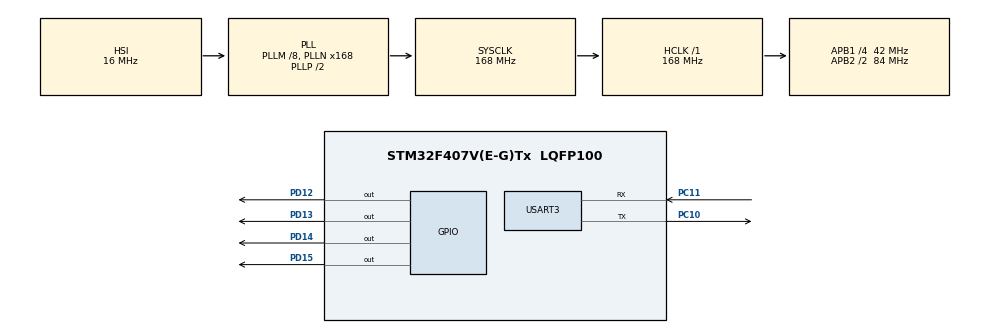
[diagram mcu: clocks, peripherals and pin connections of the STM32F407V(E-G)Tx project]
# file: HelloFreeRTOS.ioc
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Mcu.Family=STM32F4
Mcu.Name=STM32F407V(E-G)Tx
Mcu.Package=LQFP100
NVIC.PriorityGroup=NVIC_PRIORITYGROUP_4
PC10.Mode=Asynchronous
PC10.Signal=USART3_TX
PC11.Mode=Asynchronous
PC11.Signal=USART3_RX
PC14-OSC32_IN.Mode=LSE-External-Oscillator
PC14-OSC32_IN.Signal=RCC_OSC32_IN
PC15-OSC32_OUT.Mode=LSE-External-Oscillator
PC15-OSC32_OUT.Signal=RCC_OSC32_OUT
PD12.Signal=GPIO_Output
PD13.Signal=GPIO_Output
PD14.Signal=GPIO_Output
PD15.Signal=GPIO_Output
PH0-OSC_IN.Mode=HSE-External-Oscillator
PH0-OSC_IN.Signal=RCC_OSC_IN
PH1-OSC_OUT.Mode=HSE-External-Oscillator
PH1-OSC_OUT.Signal=RCC_OSC_OUT
ProjectManager.HeapSize=0x200
ProjectManager.StackSize=0x400
ProjectManager.TargetToolchain=SW4STM32
RCC.48MHZClocksFreq_Value=84000000
RCC.AHBFreq_Value=168000000
RCC.APB1CLKDivider=RCC_HCLK_DIV4
RCC.APB1Freq_Value=42000000
RCC.APB1TimFreq_Value=84000000
RCC.APB2CLKDivider=RCC_HCLK_DIV2
RCC.APB2Freq_Value=84000000
RCC.APB2TimFreq_Value=168000000
RCC.CortexFreq_Value=168000000
RCC.HCLKFreq_Value=168000000
RCC.HSE_VALUE=8000000
RCC.HSI_VALUE=16000000
RCC.PLLM=8
RCC.PLLN=168
RCC.SYSCLKFreq_VALUE=168000000
RCC.SYSCLKSource=RCC_SYSCLKSOURCE_PLLCLK
RCC.VCOOutputFreq_Value=336000000
USART3.VirtualMode=VM_ASYNC
VP_TIM4_VS_ClockSourceINT.Mode=Internal
board=custom

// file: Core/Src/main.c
/* USER CODE BEGIN Header */
/**
  ******************************************************************************
  * @file           : main.c
  * @brief          : Main program body
  ******************************************************************************
  * @attention
  *
  * <h2><center>&copy; Copyright (c) 2022 STMicroelectronics.
  * All rights reserved.</center></h2>
  *
  * This software component is licensed by ST under BSD 3-Clause license,
  * the "License"; You may not use this file except in compliance with the
  * License. You may obtain a copy of the License at:
  *                        opensource.org/licenses/BSD-3-Clause
  *
  ******************************************************************************
  */
/* USER CODE END Header */
#include "main.h"
/* USER CODE BEGIN Includes */
#include <string.h>
#include "stm32f4xx.h"
#include "stm32f4xx_hal_gpio.h"
/* USER CODE END Includes */

TIM_HandleTypeDef htim4;

UART_HandleTypeDef huart3;

void SystemClock_Config(void);
static void MX_GPIO_Init(void);
static void MX_TIM4_Init(void);
static void MX_USART3_UART_Init(void);
/* USER CODE BEGIN PFP */
void vApplicationTickHook( void );
void vApplicationStackOverflowHook( TaskHandle_t xTask, char * pcTaskName );
void uartSpamThread();
void blinkThread();
/* USER CODE END PFP */

int main(void)
{

  /* MCU Configuration--------------------------------------------------------*/

  /* Reset of all peripherals, Initializes the Flash interface and the Systick. */
  HAL_Init();

  /* Configure the system clock */
  SystemClock_Config();

  /* Initialize all configured peripherals */
  MX_GPIO_Init();
  MX_TIM4_Init();
  MX_USART3_UART_Init();

  /* Infinite loop */
  /* USER CODE BEGIN WHILE */
  /* Создание одной из двух задач. Имейте в виду, что реальное приложение должно
       проверить возвращаемое значение из вызова xTaskCreate(), чтобы удостовериться,
       что задача была успешно создана. */
  xTaskCreate( uartSpamThread,  /* Указатель на функцию, которая реализует задачу. */
                 "Task 1",/* Текстовое имя задачи. Этот параметр нужен только для
                             упрощения отладки. */
                 1000,    /* Глубина стека - самые маленькие микроконтроллеры будут
                             использовать значение намного меньше, чем здесь
                             указано. */
                 NULL,    /* Мы не используем параметр задачи. */
                 1,       /* Задача будет запущена с приоритетом 1. */
                 NULL );  /* Мы не будем использовать хендл задачи. */
    /* Создание другой задачи полностью совпадает с созданием первой,
       приоритет задачи тот же. */
  xTaskCreate( blinkThread, "Task 2", 1000, NULL, 1, NULL );

    /* Запуск шедулера, после чего задачи запустятся на выполнение. */
    vTaskStartScheduler();

  while (1)
  {
    /* USER CODE END WHILE */

  }
}

void SystemClock_Config(void)
{
  RCC_OscInitTypeDef RCC_OscInitStruct = {0};
  RCC_ClkInitTypeDef RCC_ClkInitStruct = {0};

  /** Configure the main internal regulator output voltage
  */
  __HAL_RCC_PWR_CLK_ENABLE();
  __HAL_PWR_VOLTAGESCALING_CONFIG(PWR_REGULATOR_VOLTAGE_SCALE1);
  /** Initializes the RCC Oscillators according to the specified parameters
  * in the RCC_OscInitTypeDef structure.
  */
  RCC_OscInitStruct.OscillatorType = RCC_OSCILLATORTYPE_HSI;
  RCC_OscInitStruct.HSIState = RCC_HSI_ON;
  RCC_OscInitStruct.HSICalibrationValue = RCC_HSICALIBRATION_DEFAULT;
  RCC_OscInitStruct.PLL.PLLState = RCC_PLL_ON;
  RCC_OscInitStruct.PLL.PLLSource = RCC_PLLSOURCE_HSI;
  RCC_OscInitStruct.PLL.PLLM = 8;
  RCC_OscInitStruct.PLL.PLLN = 168;
  RCC_OscInitStruct.PLL.PLLP = RCC_PLLP_DIV2;
  RCC_OscInitStruct.PLL.PLLQ = 4;
  if (HAL_RCC_OscConfig(&RCC_OscInitStruct) != HAL_OK)
  {
    Error_Handler();
  }
  /** Initializes the CPU, AHB and APB buses clocks
  */
  RCC_ClkInitStruct.ClockType = RCC_CLOCKTYPE_HCLK|RCC_CLOCKTYPE_SYSCLK
                              |RCC_CLOCKTYPE_PCLK1|RCC_CLOCKTYPE_PCLK2;
  RCC_ClkInitStruct.SYSCLKSource = RCC_SYSCLKSOURCE_PLLCLK;
  RCC_ClkInitStruct.AHBCLKDivider = RCC_SYSCLK_DIV1;
  RCC_ClkInitStruct.APB1CLKDivider = RCC_HCLK_DIV4;
  RCC_ClkInitStruct.APB2CLKDivider = RCC_HCLK_DIV2;

  if (HAL_RCC_ClockConfig(&RCC_ClkInitStruct, FLASH_LATENCY_5) != HAL_OK)
  {
    Error_Handler();
  }
}

static void MX_TIM4_Init(void)
{

  TIM_ClockConfigTypeDef sClockSourceConfig = {0};
  TIM_MasterConfigTypeDef sMasterConfig = {0};

  htim4.Instance = TIM4;
  htim4.Init.Prescaler = 0;
  htim4.Init.CounterMode = TIM_COUNTERMODE_UP;
  htim4.Init.Period = 65535;
  htim4.Init.ClockDivision = TIM_CLOCKDIVISION_DIV1;
  htim4.Init.AutoReloadPreload = TIM_AUTORELOAD_PRELOAD_DISABLE;
  if (HAL_TIM_Base_Init(&htim4) != HAL_OK)
  {
    Error_Handler();
  }
  sClockSourceConfig.ClockSource = TIM_CLOCKSOURCE_INTERNAL;
  if (HAL_TIM_ConfigClockSource(&htim4, &sClockSourceConfig) != HAL_OK)
  {
    Error_Handler();
  }
  sMasterConfig.MasterOutputTrigger = TIM_TRGO_RESET;
  sMasterConfig.MasterSlaveMode = TIM_MASTERSLAVEMODE_DISABLE;
  if (HAL_TIMEx_MasterConfigSynchronization(&htim4, &sMasterConfig) != HAL_OK)
  {
    Error_Handler();
  }

}

static void MX_USART3_UART_Init(void)
{

  huart3.Instance = USART3;
  huart3.Init.BaudRate = 115200;
  huart3.Init.WordLength = UART_WORDLENGTH_8B;
  huart3.Init.StopBits = UART_STOPBITS_1;
  huart3.Init.Parity = UART_PARITY_NONE;
  huart3.Init.Mode = UART_MODE_TX_RX;
  huart3.Init.HwFlowCtl = UART_HWCONTROL_NONE;
  huart3.Init.OverSampling = UART_OVERSAMPLING_16;
  if (HAL_UART_Init(&huart3) != HAL_OK)
  {
    Error_Handler();
  }

}

static void MX_GPIO_Init(void)
{
  GPIO_InitTypeDef GPIO_InitStruct = {0};

  /* GPIO Ports Clock Enable */
  __HAL_RCC_GPIOC_CLK_ENABLE();
  __HAL_RCC_GPIOH_CLK_ENABLE();
  __HAL_RCC_GPIOD_CLK_ENABLE();

  /*Configure GPIO pin Output Level */
  HAL_GPIO_WritePin(GPIOD, GPIO_PIN_12|GPIO_PIN_13|GPIO_PIN_14|GPIO_PIN_15, GPIO_PIN_RESET);

  /*Configure GPIO pins : PD12 PD13 PD14 PD15 */
  GPIO_InitStruct.Pin = GPIO_PIN_12|GPIO_PIN_13|GPIO_PIN_14|GPIO_PIN_15;
  GPIO_InitStruct.Mode = GPIO_MODE_OUTPUT_PP;
  GPIO_InitStruct.Pull = GPIO_NOPULL;
  GPIO_InitStruct.Speed = GPIO_SPEED_FREQ_LOW;
  HAL_GPIO_Init(GPIOD, &GPIO_InitStruct);

}

/* USER CODE BEGIN 4 */
void vApplicationTickHook( void )
{

}
void vApplicationStackOverflowHook( TaskHandle_t xTask, char * pcTaskName )
{

}

void blinkThread()
{
	while(1)
	{
		HAL_GPIO_TogglePin(GPIOD, GPIO_PIN_12);
		vTaskDelay(1000);
		HAL_GPIO_TogglePin(GPIOD, GPIO_PIN_13);
		vTaskDelay(1000);
		HAL_GPIO_TogglePin(GPIOD, GPIO_PIN_14);
		vTaskDelay(1000);
		HAL_GPIO_TogglePin(GPIOD, GPIO_PIN_15);
		vTaskDelay(1000);
	}
}

void uartSpamThread()
{
	while(1)
	{
		char *strHello = "Hello\n\r";
		HAL_UART_Transmit(&huart3, (uint8_t*) strHello, strlen(strHello), 1000);
		vTaskDelay(1000);
	}
}
/* USER CODE END 4 */

void Error_Handler(void)
{
  __disable_irq();
  while (1)
  {
  }
}

/************************ (C) COPYRIGHT STMicroelectronics *****END OF FILE****/
